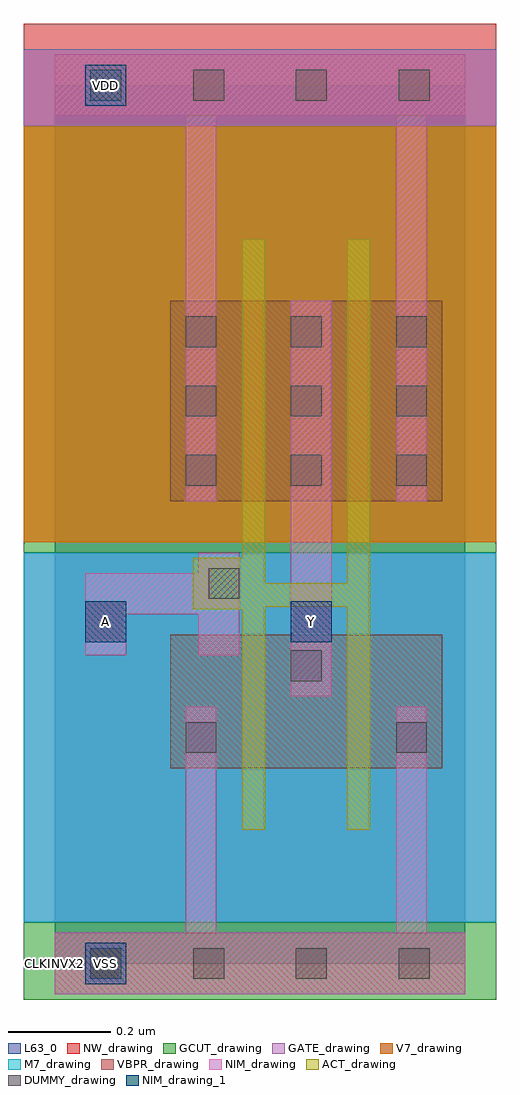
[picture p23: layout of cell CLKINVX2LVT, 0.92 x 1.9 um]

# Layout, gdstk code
import gdstk
lib = gdstk.Library(unit=1e-6, precision=5e-10)
def R(c, l, rs):  # rectangles x0, y0, x1, y1
    for r in rs: c.add(gdstk.rectangle(r[:2], r[2:], *l))
def A(c, l, x, y, w, h, nx, ny, dx, dy):  # array of equal rectangles
    R(c, l, [(x+i*dx, y+j*dy, x+i*dx+w, y+j*dy+h) for i in range(nx) for j in range(ny)])
def P(c, l, *ps):  # polygons
    for p in ps: c.add(gdstk.Polygon(p, *l))
VBPR_drawing = (1, 0)
NW_drawing = (2, 0)
ACT_drawing = (3, 0)
GATE_drawing = (4, 0)
GCUT_drawing = (5, 0)
DUMMY_drawing = (6, 0)
NIM_drawing = (7, 0)
NIM_drawing_1 = (7, 1)
M7_drawing = (26, 0)
V7_drawing = (27, 0)
L63_0 = (63, 0)

clkinvx2lvt = lib.new_cell('CLKINVX2LVT')
R(clkinvx2lvt, VBPR_drawing, [(0,-0.06,0.8,0.06), (0.225,0.38,0.755,0.64), (0.225,0.9,0.755,1.29), (0,1.65,0.8,1.77)])
R(clkinvx2lvt, NW_drawing, [(-0.06,0.82,0.86,1.83)])
P(clkinvx2lvt, ACT_drawing, [(0.365,1.41),(0.41,1.41),(0.41,0.74),(0.57,0.74),(0.57,1.41),(0.615,1.41),(0.615,0.26),(0.57,0.26),(0.57,0.695),(0.41,0.695),(0.41,0.26),(0.365,0.26),(0.365,0.69),(0.27,0.69),(0.27,0.79),(0.365,0.79)])
R(clkinvx2lvt, GATE_drawing, [(-0.06,0.08,0.86,0.8), (-0.06,1.63,0.86,1.78)])
R(clkinvx2lvt, GCUT_drawing, [(-0.06,-0.07,0.86,0.08), (-0.06,0.8,0.86,1.63)])
A(clkinvx2lvt, DUMMY_drawing, 0.07, -0.03, 0.06, 0.06, 4, 2, 0.2, 1.71)
A(clkinvx2lvt, DUMMY_drawing, 0.255, 0.93, 0.06, 0.06, 3, 3, 0.205, 0.135)
R(clkinvx2lvt, DUMMY_drawing, [(0.255,0.41,0.315,0.47), (0.665,0.41,0.725,0.47), (0.46,0.55,0.52,0.61), (0.3,0.71,0.36,0.77)])
R(clkinvx2lvt, NIM_drawing, [(0.255,0.06,0.315,0.5), (0.665,0.06,0.725,0.5), (0.46,0.52,0.54,1.29), (0.255,0.9,0.315,1.65), (0.665,0.9,0.725,1.65)])
P(clkinvx2lvt, NIM_drawing, [(0.28,0.8),(0.36,0.8),(0.36,0.6),(0.28,0.6),(0.28,0.68),(0.14,0.68),(0.14,0.6),(0.06,0.6),(0.06,0.76),(0.28,0.76)])
R(clkinvx2lvt, NIM_drawing_1, [(0.06,-0.04,0.14,0.04), (0.06,0.625,0.14,0.705), (0.46,0.625,0.54,0.705), (0.06,1.67,0.14,1.75)])
R(clkinvx2lvt, M7_drawing, [(-0.06,0.08,0.86,0.8)])
R(clkinvx2lvt, V7_drawing, [(-0.06,0.82,0.86,1.63)])
R(clkinvx2lvt, L63_0, [(0,0,0.8,1.71)])
clkinvx2lvt.add(gdstk.FlexPath([(0,0),(0.8,0)], 0.12, ends="flush", simple_path=True, layer=7, datatype=0))  # NIM_drawing
clkinvx2lvt.add(gdstk.FlexPath([(0,1.71),(0.8,1.71)], 0.12, ends="flush", simple_path=True, layer=7, datatype=0))  # NIM_drawing
clkinvx2lvt.add(gdstk.Label('Y', (0.5,0.665), layer=7, texttype=1))
clkinvx2lvt.add(gdstk.Label('A', (0.1,0.665), layer=7, texttype=1))
clkinvx2lvt.add(gdstk.Label('VDD', (0.1,1.71), layer=7, texttype=1))
clkinvx2lvt.add(gdstk.Label('VSS', (0.1,0), layer=7, texttype=1))
clkinvx2lvt.add(gdstk.Label('VSS', (0.1,0), layer=7, texttype=1))
clkinvx2lvt.add(gdstk.Label('VDD', (0.1,1.71), layer=7, texttype=1))
clkinvx2lvt.add(gdstk.Label('A', (0.1,0.665), layer=7, texttype=1))
clkinvx2lvt.add(gdstk.Label('Y', (0.5,0.665), layer=7, texttype=1))
clkinvx2lvt.add(gdstk.Label('CLKINVX2', (0,0), layer=63, texttype=0))

lib.write_gds('CLKINVX2LVT.gds')
